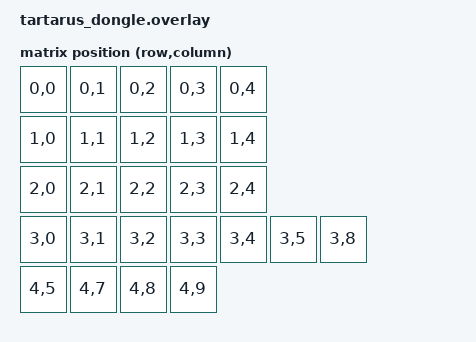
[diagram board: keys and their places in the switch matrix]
/*
 * Copyright (c) 2026 Chris Dietz
 * GPL-2.0-or-later
 */

#include <dt-bindings/zmk/matrix_transform.h>
#include "tartarus_dongle-layouts.dtsi"

/ {
    chosen {
        zmk,kscan = &mock_kscan;
        zmk,matrix_transform = &matrix_transform0;
        zmk,physical-layout = &physical_layout0; 
        zephyr,display = &oled;
        zmk,studio-rpc = &cdc_acm_uart;
    };

    mock_kscan: mock_kscan {
        compatible = "zmk,kscan-mock";
        rows = <5>;    
        columns = <10>; 
        events = <0>;
    };

    // RENAME: Now matches the dtsi reference
    matrix_transform0: keymap_transform_0 {
        compatible = "zmk,matrix-transform";
        columns = <10>; 
        rows = <5>;
        map = <
        RC(0,0) RC(0,1) RC(0,2) RC(0,3) RC(0,4)
        RC(1,0) RC(1,1) RC(1,2) RC(1,3) RC(1,4)
        RC(2,0) RC(2,1) RC(2,2) RC(2,3) RC(2,4)
        RC(3,0) RC(3,1) RC(3,2) RC(3,3) RC(3,4) RC(3,5) RC(3,8)
        RC(4,5) RC(4,7) RC(4,8) RC(4,9)
        >;
    };
};

&xiao_i2c {
    status = "okay";
    oled: ssd1306@3c {
        compatible = "solomon,ssd1306fb";
        reg = <0x3c>;
        width = <128>;
        height = <64>;
        segment-offset = <0>;
        page-offset = <0>;
        display-offset = <0>;
        multiplex-ratio = <63>;
        segment-remap;
        com-invdir;
        com-sequential;
        prechargep = <0x22>;
    };
};

&zephyr_udc0 {
    cdc_acm_uart: cdc_acm_uart {
        compatible = "zephyr,cdc-acm-uart";
    };
};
